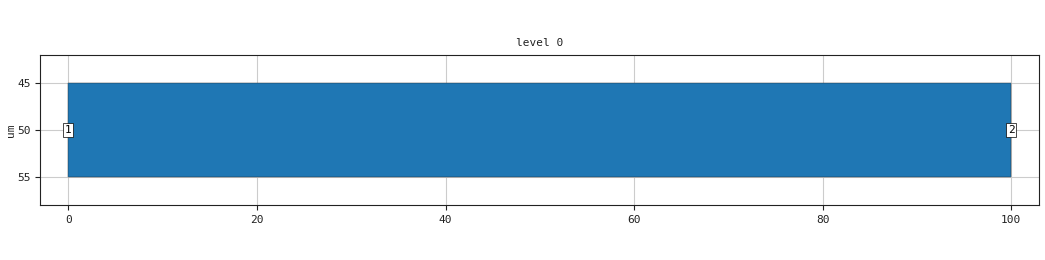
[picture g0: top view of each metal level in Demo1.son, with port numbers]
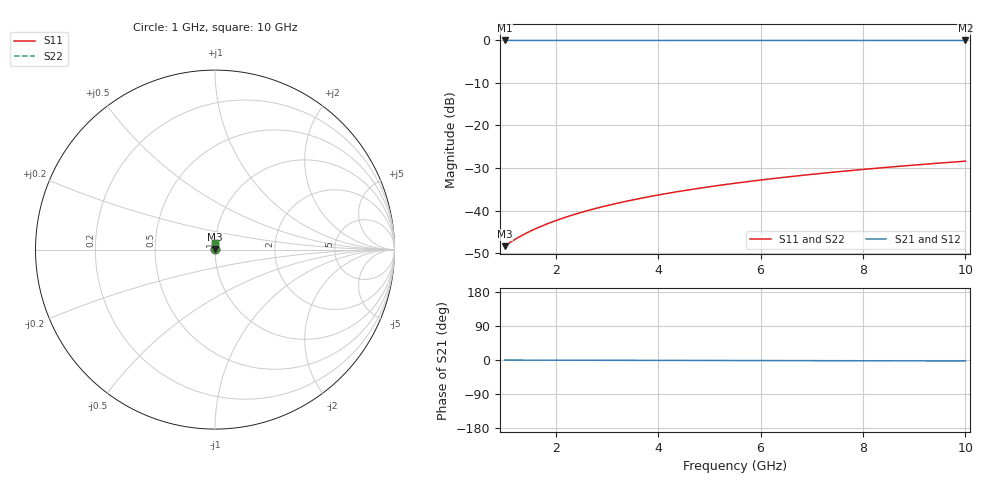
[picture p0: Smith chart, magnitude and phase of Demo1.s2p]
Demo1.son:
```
FTYP SONPROJ 13 ! Sonnet Project File
VER 15.52
HEADER
DAT 9/12/2018 21:58:53
BUILT_BY_CREATED Sonnet Matlab Interface v8.0
BUILT_BY_SAVED Sonnet Matlab Interface v8.0
MDATE 9/12/2018 21:58:48
HDATE 9/12/2018 21:58:48
END HEADER
DIM
FREQ GHZ
IND NH
LNG UM
ANG DEG
CON /OH
CAP PF
RES OH
END DIM
FREQ
ABS 1 10
END FREQ
CONTROL
ABS
OPTIONS -d
SPEED 0
CACHE_ABS 1
TARG_ABS 300
Q_ACC N
END CONTROL
GEO
TMET Lossless 0 SUP 0 0 0 0
BMET Lossless 0 SUP 0 0 0 0
MET "Al-supercond" 0 RES 0
BOX 1 100 100 200 200 20 0
      500 1 1 0 0 0 0 "Unnamed" 
      3000 1 1 0 0 0 0 "Unnamed" 
POR1 STD
POLY 1 1
0
1 50 0 0 0 0 50
POR1 STD
POLY 1 1
2
2 50 0 0 0 100 50
NUM 1
0 5 0 N 1 1 1 100 100 0 0 0 Y
0 45
0 55
100 55
100 45
0 45
END
END GEO
OPT
MAX 100
VARS
END
END OPT
VARSWP
END VARSWP
FILEOUT
TS D Y $BASENAME.s2p IC 8 S MA R 50
END FILEOUT
SMDFILES
END SMDFILES
```
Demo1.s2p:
! Sonnet Data File
! From: em Version : 14.52
! From Project: Demo1
! Data is De-embedded
! Data File Written: 09/12/2018 21:58:52
!< HDATE 9/12/2018 21:58:48
!< MDATE 9/12/2018 21:58:48
# GHZ S MA R 50.00000
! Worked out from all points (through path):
!   361 points, 1 GHz to 10 GHz, reference 50 ohm
!   highest |S21| = 0.00 dB at 1 GHz (marker M1); lowest = 0.0 dB at 10 GHz (marker M2)
!   lowest |S11| = -48.4 dB at 1 GHz (marker M3), VSWR 1.01, Z = 50 + j0.381 ohm
!   |S11| at or under -10 dB: start of sweep to end of sweep
!   |S22| runs from -48.4 to -28.4 dB; largest |S21 - S12| = 0
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1  0.003807 89.7  1 -0.3  1 -0.3  0.003807 89.7
!< P1 F=1.0 Eeff=(undefined: sl) Z0=(undefined: sl) R=0.0 C=0.0
!< P2 F=1.0 Eeff=(undefined: sl) Z0=(undefined: sl) R=0.0 C=0.0
1.3  0.004949 89.7  1 -0.3  1 -0.3  0.004949 89.7
1.675  0.006377 89.6  1 -0.4  1 -0.4  0.006377 89.6
2.1  0.007995 89.5  1 -0.5  1 -0.5  0.007995 89.5
2.625  0.009994 89.3  1 -0.7  1 -0.7  0.009994 89.3
3.2  0.01218 89.2  0.9999 -0.8  0.9999 -0.8  0.01218 89.2
3.875  0.01475 89.0  0.9999 -1.0  0.9999 -1.0  0.01475 89.0
4.65  0.0177 88.8  0.9998 -1.2  0.9998 -1.2  0.0177 88.8
5.5  0.02093 88.6  0.9998 -1.4  0.9998 -1.4  0.02093 88.6
7.525  0.02863 88.1  0.9996 -1.9  0.9996 -1.9  0.02863 88.1
10  0.03804 87.5  0.9993 -2.5  0.9993 -2.5  0.03804 87.5
